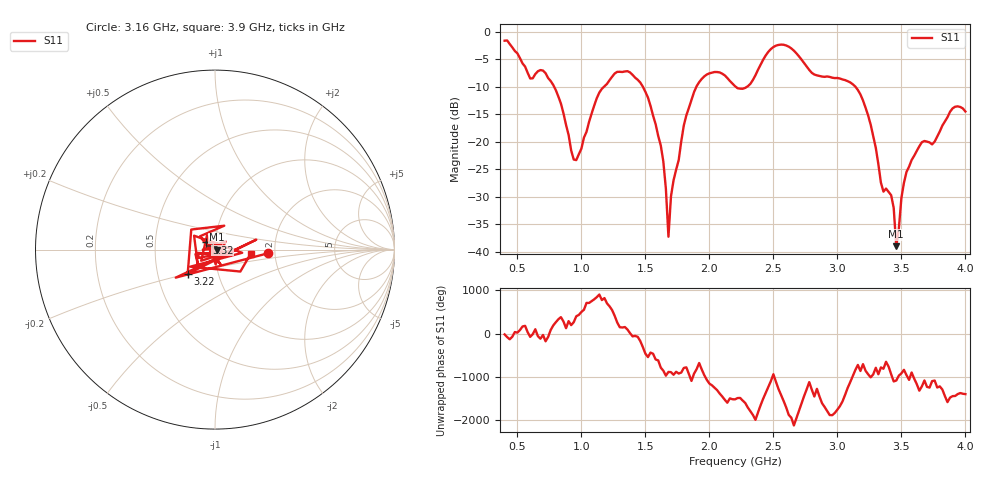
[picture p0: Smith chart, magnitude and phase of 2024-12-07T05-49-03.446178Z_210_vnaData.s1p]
!Created with skrf (http://scikit-rf.org).
# Hz S RI R 50.0
!freq ReS11 ImS11
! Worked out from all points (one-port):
!   181 points, 400 MHz to 4 GHz, reference 50 ohm
!   lowest |S11| = -39.0 dB at 3.46 GHz (marker M1), VSWR 1.02, Z = 51.1 - j0.102 ohm
!   |S11| at or under -10 dB: 786.5 MHz to 1.178 GHz (391.3 MHz wide, 39.8 % of centre); 1.48 GHz to 1.899 GHz (418.6 MHz wide, 24.8 % of centre); 3.14 GHz to end of sweep (the widest 3 of 4)
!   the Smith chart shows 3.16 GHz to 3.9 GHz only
!   S11 on the Smith chart (normalised r, x): 3.16 GHz: 1.83, -0.08; 3.22 GHz: 0.71, -0.20; 3.32 GHz: 0.91, +0.07; 3.9 GHz: 1.50, -0.07
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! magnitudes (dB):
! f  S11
! 400 MHz  -1.7
! 600 MHz  -8.5
! 720 MHz  -7.6
! 860 MHz  -14.9
! 960 MHz  -23.3
! 1.14 GHz  -11.1
! 1.3 GHz  -7.3
! 1.54 GHz  -13.5
! 1.64 GHz  -23.6
! 1.68 GHz  -37.3
! 1.7 GHz  -29.9
! 1.76 GHz  -23.4
! 1.82 GHz  -15.2
! 1.92 GHz  -9.2
! 2.2 GHz  -9.9
! 2.5 GHz  -2.8
! 2.66 GHz  -3.5
! 3.1 GHz  -9.2
! 3.16 GHz  -10.6
! 3.22 GHz  -13.8
! 3.32 GHz  -24.1
! 3.36 GHz  -29.1
! 3.42 GHz  -29.7
! 3.46 GHz  -39.0
! 3.5 GHz  -30.2
! 3.56 GHz  -24.5
! 3.9 GHz  -14.0
! 4 GHz  -14.5
